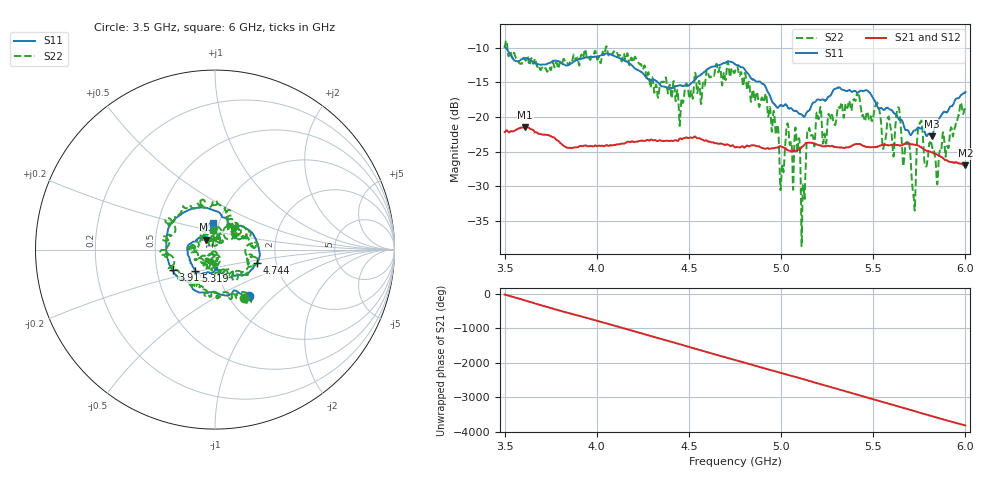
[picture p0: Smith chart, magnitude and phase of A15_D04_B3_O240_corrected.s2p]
! Created with skrf 1.9.0 (http://scikit-rf.org).
# Hz S RI R 50.0
!freq ReS11 ImS11 ReS21 ImS21 ReS12 ImS12 ReS22 ImS22
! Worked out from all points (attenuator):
!   1601 points, 3.5 GHz to 6 GHz, reference 50 ohm
!   highest |S21| = -21.48 dB at 3.611 GHz (marker M1); lowest = -27.0 dB at 6 GHz (marker M2)
!   lowest |S11| = -22.8 dB at 5.817 GHz (marker M3), VSWR 1.16, Z = 45.2 + j4.95 ohm
!   |S11| at or under -10 dB: 3.505 GHz to end of sweep
!   |S22| runs from -38.6 to -9.0 dB; largest |S21 - S12| = 0.001
!   S11 on the Smith chart (normalised r, x): 3.5 GHz: 1.25, -0.72; 3.919 GHz: 0.60, -0.15; 4.744 GHz: 1.58, -0.25; 5.319 GHz: 0.78, -0.19; 6 GHz: 0.93, +0.29
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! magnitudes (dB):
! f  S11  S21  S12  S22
! 3.5 GHz  -9.9  -22.2  -22.2  -10.1
! 3.611 GHz  -11.5  -21.5  -21.5  -11.8
! 3.917 GHz  -11.6  -24.2  -24.2  -11.0
! 3.919 GHz  -11.6  -24.2  -24.2  -11.1
! 4.334 GHz  -15.1  -23.5  -23.4  -17.1
! 4.744 GHz  -12.3  -24.3  -24.2  -13.6
! 4.75 GHz  -12.4  -24.4  -24.3  -13.4
! 4.912 GHz  -15.5  -24.6  -24.5  -17.1
! 5.003 GHz  -18.3  -24.3  -24.3  -28.1
! 5.033 GHz  -18.4  -24.8  -24.7  -21.0
! 5.088 GHz  -19.2  -24.9  -24.8  -25.1
! 5.119 GHz  -19.8  -24.2  -24.1  -29.9
! 5.147 GHz  -19.2  -23.7  -23.7  -22.0
! 5.167 GHz  -18.2  -23.7  -23.7  -22.6
! 5.319 GHz  -15.8  -24.4  -24.4  -18.7
! 5.584 GHz  -18.8  -24.1  -24.0  -19.9
! 5.638 GHz  -20.3  -24.1  -24.0  -18.6
! 5.719 GHz  -22.0  -24.0  -23.9  -31.5
! 5.752 GHz  -21.6  -24.2  -24.2  -20.9
! 5.817 GHz  -22.8  -25.1  -25.0  -24.0
! 5.848 GHz  -20.8  -25.5  -25.4  -29.6
! 6 GHz  -16.4  -27.0  -26.9  -19.3
